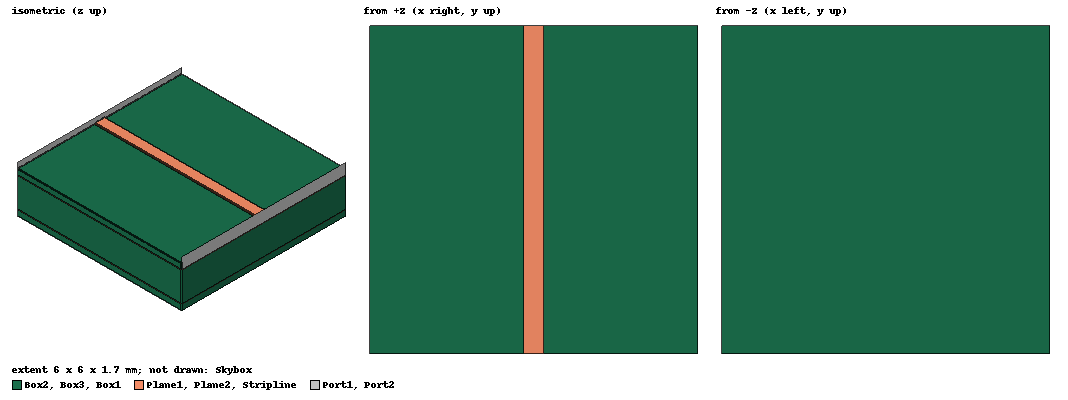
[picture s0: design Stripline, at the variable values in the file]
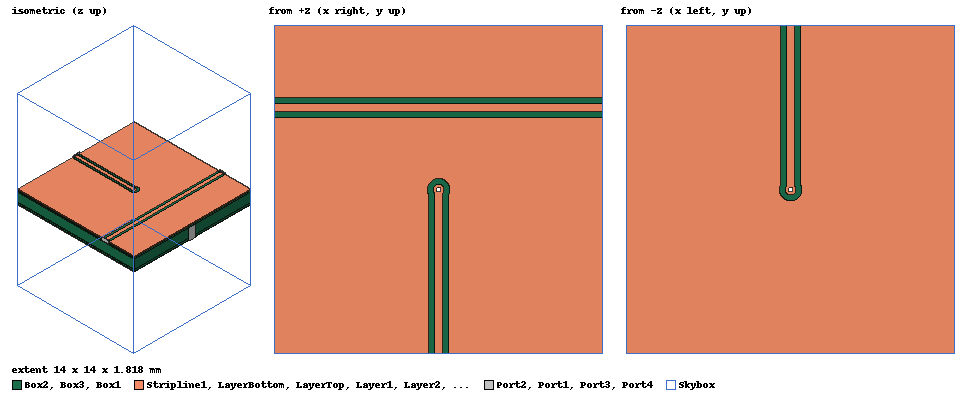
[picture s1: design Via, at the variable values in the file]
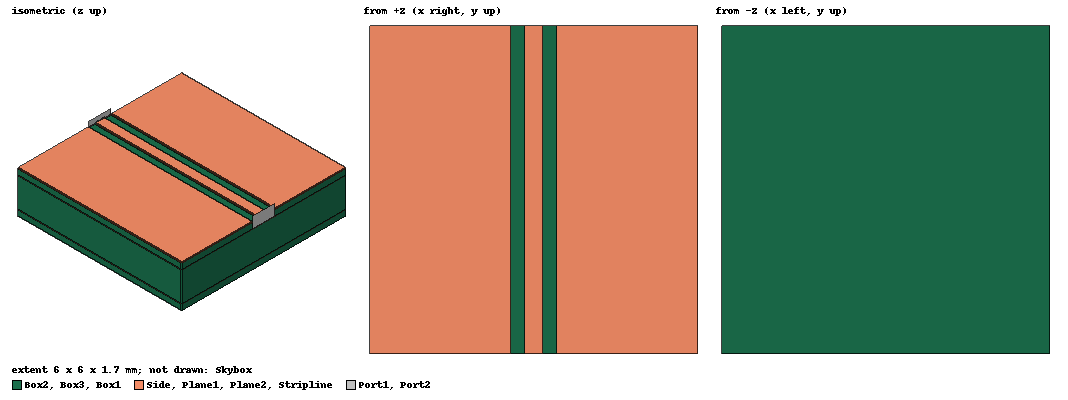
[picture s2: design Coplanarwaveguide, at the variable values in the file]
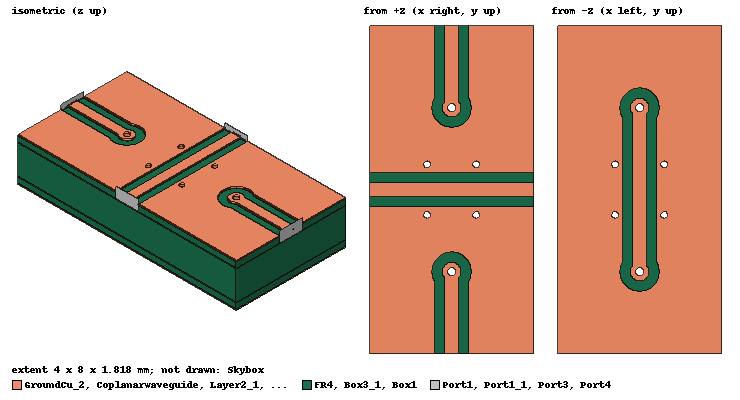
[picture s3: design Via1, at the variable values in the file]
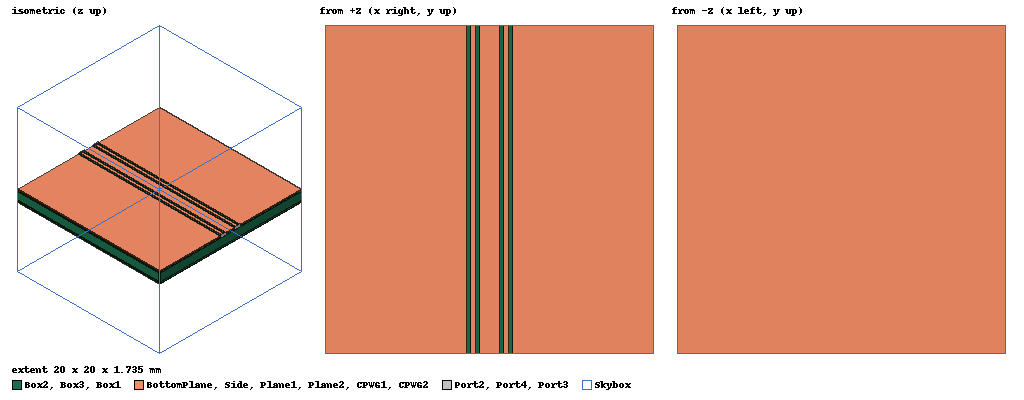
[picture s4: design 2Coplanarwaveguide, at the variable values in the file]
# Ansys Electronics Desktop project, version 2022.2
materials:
  pec: conductivity=1e+30
  vacuum: permittivity=1
  FR4_epoxy: permittivity=4.4 dielectric_loss_tangent=0.02
  copper: permeability=0.999991 conductivity=58000000
  7628: permittivity=4.6 dielectric_loss_tangent=0.02
  air: permittivity=1.0006 permeability=1.0000004

design Stripline (HFSS, DrivenTerminal, model units mm)
options: Calculate_Lossy_Dielectrics
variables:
  trace_w = 0.3487mm
  trace_l = 3mm
  trace_t = 17.5um
  pad_r = 0.6mm
  pad_d = 0.6mm
  d2_h = 0.2mm
  d1_h = 1.065mm
  via_r = 0.15mm
  keepout_t = 0.05mm
  sky_height = 20mm
  itrace_t = trace_t/2
  via_plate_t = 18um
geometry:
  Stripline [copper] = box(corner=(-trace_w/2, -trace_l, 0mm), size=(trace_w, trace_l*2, trace_t*2))
  Box1 [7628] = box(corner=(-trace_l, -trace_l, -d2_h), size=(2*trace_l, trace_l*2, d2_h))
  Box2 [FR4_epoxy] = box(corner=(-trace_l, -trace_l, -d2_h-trace_t-d1_h), size=(2*trace_l, trace_l*2, d1_h))
  Box3 [7628] = box(corner=(-trace_l, -trace_l, -d2_h*2-d1_h-trace_t*2), size=(2*trace_l, trace_l*2, d2_h))
  Plane1 [copper] = object_from(Box1.face(-z))
  Plane2 [copper] = object_from(Box2.face(-z))
  [Plane1, Plane2].thicken(trace_t)
  Port1 = rectangle(corner=(-trace_l, -trace_l, -0.2mm), z_size=0.4mm, x_size=trace_l*2)
  Port2 = rectangle(corner=(-trace_l, trace_l, -0.2mm), z_size=0.4mm, x_size=trace_l*2)
  Skybox [vacuum] = box(corner=(-trace_l, -trace_l, -sky_height/2), size=(trace_l*2, trace_l*2, sky_height))
  Plane2_ObjectFromFace1 = object_from(Plane2.face(at (0, 3, -1.29125)))
  Plane2_ObjectFromFace1.thicken(trace_t, both sides)
  Plane2.subtract(Plane2_ObjectFromFace1)
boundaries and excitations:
  Stripline1_T2: Terminal port=2 Faces=Stripline.face(-y) TerminalResistance=50ohm
  Stripline_T1: Terminal port=1 Faces=Stripline.face(+y) TerminalResistance=50ohm
  1: Lumped Port Faces=Port2.face Impedance=50ohm
  2: Lumped Port Faces=Port1.face Impedance=50ohm
  reference conductors: Plane1, Plane2
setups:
  Setup1: HfssDrivenAuto AutoSolverSetting=Balanced SaveAnyFields=false Type=Interpolating
    sweep Sweep: 910MHz to 928MHz step 1MHz;
  Setup2: HfssDriven Frequency=915MHz MaxDeltaS=0.02 MaximumPasses=6 MinimumPasses=1 MinimumConvergedPasses=1 PercentRefinement=30 BasisOrder=1 PortAccuracy=2 DrivenSolverType="Direct Solver"
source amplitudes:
  1:1: 1 0deg
  2:1: 0V 0deg
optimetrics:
  ParametricSetup1: Parametric Sim._Setups=[Setup1]
    sweep trace_w: LIN 0.2487mm 0.4487mm 0.04mm
    calculate dB(St(Stripline_T1,Stripline1_T2)) on Setup1 : Sweep at Freq 915MHz to 915MHz
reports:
  Terminal S Parameter Chart 1: St(Stripline1_T1,Stripline1_T1) on Setup1 : Sweep [Freq=all]
  Terminal VSWR Plot 1: VSWRt(Stripline1_T1) vs Freq on Setup1 : Sweep
  Terminal S Parameter Plot 1: dB(St(Stripline1_T1,Stripline1_T1)), dB(St(Stripline1_T2,Stripline1_T1)), dB(St(Stripline1_T1,Stripline1_T2)), dB(St(Stripline1_T2,Stripline1_T2)) vs Freq on Setup1 : Sweep
  Terminal S Parameter Plot 2: dB(St(Stripline1_T1,Stripline1_T2)) vs Freq on Setup1 : Sweep
  Terminal S Parameter Plot 3: dB(St(Stripline_T1,Stripline1_T2)) vs Freq on Setup1 : Sweep [trace_w=all]

design Via (HFSS, DrivenTerminal, model units mm)
options: Calculate_Lossy_Dielectrics
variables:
  trace_w = 0.3287mm
  trace_l = 7mm
  trace_t = 17.5um
  pad_r = 0.6mm
  pad_d = 0.45mm
  d2_h = 0.2mm
  d1_h = 1.065mm
  via_r = 0.1mm
  keepout_t = 0.05mm
  sky_height = 20mm
  itrace_t = trace_t/2
  via_plate_t = 18um
  spacing = 0.508mm
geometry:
  Stripline = box(corner=(-trace_w/2, -trace_l, 0mm), size=(trace_w, trace_l, trace_t*2))
  Pad = cylinder(axis=Z, base_centre=(0mm, 0mm, 0mm), radius=pad_d/2, height=trace_t*2)
  Box1 [7628] = box(corner=(-trace_l, -trace_l, -d2_h), size=(2*trace_l, trace_l*2, d2_h))
  Pad1 = cylinder(axis=Z, base_centre=(0mm, 0mm, -d2_h-trace_t), radius=pad_d/2, height=trace_t)
  Box2 [FR4_epoxy] = box(corner=(-trace_l, -trace_l, -d2_h-trace_t-d1_h), size=(2*trace_l, trace_l*2, d1_h))
  Box3 [7628] = box(corner=(-trace_l, -trace_l, -d2_h*2-d1_h-trace_t*2), size=(2*trace_l, trace_l*2, d2_h))
  Pad2 = cylinder(axis=Z, base_centre=(0mm, 0mm, -d2_h-trace_t*2-d1_h), radius=pad_d/2, height=trace_t)
  Pad3 = cylinder(axis=Z, base_centre=(0mm, 0mm, -d2_h*2-trace_t-trace_t*3-d1_h), radius=pad_d/2, height=trace_t*2)
  ViaPlate = cylinder(axis=Z, base_centre=(0mm, 0mm, trace_t*2), radius=via_r+via_plate_t, height=-trace_t*2-trace_t*4-d1_h-d2_h*2)
  ViaHole = cylinder(axis=Z, base_centre=(0mm, 0mm, trace_t*2), radius=via_r, height=-trace_t*2-trace_t*4-d1_h-d2_h*2)
  AntiPad1 = cylinder(axis=Z, base_centre=(0mm, 0mm, -d2_h-trace_t), radius=pad_d/2+spacing/2, height=trace_t)
  AntiPad2 = cylinder(axis=Z, base_centre=(0mm, 0mm, -d2_h-trace_t*2-d1_h), radius=pad_d/2+spacing/2, height=trace_t)
  Layer1 [copper] = object_from(Box1.face(-z))
  Layer2 [copper] = object_from(Box2.face(-z))
  [Layer1, Layer2].thicken(trace_t)
  ViaPlate_1 = ViaPlate.copy()
  Box1.subtract(ViaPlate_1)
  ViaPlate_2 = ViaPlate.copy()
  Box2.subtract(ViaPlate_2)
  ViaPlate_3 = ViaPlate.copy()
  Box3.subtract(ViaPlate_3)
  ViaPlate_4 = ViaPlate.copy()
  Pad.subtract(ViaPlate_4)
  ViaPlate_5 = ViaPlate.copy()
  Pad1.subtract(ViaPlate_5)
  ViaPlate_6 = ViaPlate.copy()
  Pad2.subtract(ViaPlate_6)
  ViaPlate_7 = ViaPlate.copy()
  Pad3.subtract(ViaPlate_7)
  ViaPlate.unite(Pad3, Pad2, Pad1, Pad)
  Stripline.unite(ViaPlate)
  Layer1.subtract(AntiPad1)
  Layer2.subtract(AntiPad2)
  Stripline1 [copper] = box(corner=(-trace_w/2, trace_l, -trace_t-trace_t*3-d1_h-d2_h*2), size=(trace_w, -trace_l, trace_t*2))
  ViaHole_1 = ViaHole.copy()
  Stripline.subtract(ViaHole_1)
  Stripline1.subtract(ViaHole)
  Stripline1.unite(Stripline)
  Port1 = rectangle(corner=(-(trace_w+spacing)/2, -trace_l, -0.2mm), z_size=0.4mm, x_size=trace_w+spacing)
  Port2 = rectangle(corner=(-(trace_w+spacing)/2, trace_l, -3*trace_t-d1_h-2*d2_h-0.1mm), z_size=1.4mm, x_size=trace_w+spacing)
  Skybox [vacuum] = box(corner=(-trace_l, -trace_l, -sky_height/2), size=(trace_l*2, trace_l*2, sky_height))
  Plane2_ObjectFromFace1 = object_from(Layer2.face(at (0, 7, -1.29125)))
  Plane2_ObjectFromFace1.thicken(trace_t, both sides)
  Layer2.subtract(Plane2_ObjectFromFace1)
  LayerTop [copper] = box(corner=(-trace_l, -trace_l, 0mm), size=(trace_l*2, trace_l*2, trace_t*2))
  Subtract = box(corner=(-(trace_w+spacing)/2, -trace_l, 0mm), size=(trace_w+spacing, trace_l, trace_t*2))
  Cylinder1 = cylinder(axis=Z, base_centre=(0mm, 0mm, 0mm), radius=(pad_d+spacing)/2, height=trace_t*2)
  Subtract.unite(Cylinder1)
  LayerTop.subtract(Subtract)
  LayerBottom [copper] = LayerTop.duplicate_mirror(point=(0mm, 0mm, -trace_t-d2_h-d1_h/2), normal=(0mm, 0mm, -10mm))
  LayerBottom.rotate(axis=Z, angle=180deg)
  CrossoverCoplanarwaveguide [copper] = box(corner=(-trace_l, -trace_w/2+trace_l/2, 0mm), size=(trace_l*2, trace_w, trace_t*2))
  Box5 = box(corner=(-trace_l, -trace_w/2-spacing/2+trace_l/2, 0mm), size=(trace_l*2, trace_w+spacing, trace_t*2))
  Port3 = rectangle(corner=(-trace_l, trace_l/2-(trace_w+spacing)*0.99/2, -0.2mm), y_size=(trace_w+spacing)*0.99, z_size=0.4mm)
  Port4 = rectangle(corner=(trace_l, trace_l/2-(trace_w+spacing)*0.99/2, -0.2mm), y_size=(trace_w+spacing)*0.99, z_size=0.4mm)
  LayerTop.subtract(Box5)
  Rectangle1 [non-model] = rectangle(corner=(0mm, -trace_l/1.1, -sky_height/4), y_size=trace_l*2/1.1, z_size=sky_height/2)
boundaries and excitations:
  Stripline1_T1: Terminal port=1 Faces=Stripline1.face(3 of 6) TerminalResistance=50ohm
  Stripline1_T2: Terminal port=2 Faces=Stripline1.face(+y) TerminalResistance=50ohm
  CrossoverCoplanarwaveguide_T1: Terminal port=3 Faces=CrossoverCoplanarwaveguide.face(-x) TerminalResistance=50ohm
  CrossoverCoplanarwaveguide_T2: Terminal port=4 Faces=CrossoverCoplanarwaveguide.face(+x) TerminalResistance=50ohm
  1: Lumped Port Faces=Port1.face Impedance=50ohm
  2: Lumped Port Faces=Port2.face Impedance=50ohm
  3: Lumped Port Faces=Port3.face Impedance=50ohm
  4: Lumped Port Faces=Port4.face Impedance=50ohm
  reference conductors: Layer1
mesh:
  initial mesh: GlobalSurfApproximation{CurvedSurfaceApproxChoice=UseSlider SliderMeshSettings=7} DynamicSurfaceResolution
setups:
  Setup1: HfssDrivenAuto AutoSolverSetting=Balanced Type=Interpolating
    sweep Sweep: 10MHz to 10GHz, log, 2000 per decade;
  Setup2: HfssDriven Frequency=915MHz MaxDeltaS=0.02 MaximumPasses=6 MinimumPasses=1 MinimumConvergedPasses=1 PercentRefinement=30 BasisOrder=1 PortAccuracy=2 DrivenSolverType="Direct Solver"
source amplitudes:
  1:1: 1V 0deg
  2:1, 3:1, 4:1: 0V 0deg
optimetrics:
  ParametricSetup1: Parametric Sim._Setups=[Setup1]
    sweep pad_d: LIN 0.45mm 1mm 0.05mm
    calculate dB(St(Stripline1_T1,Stripline1_T2)) on Setup1 : Sweep at Freq 10MHz to 10MHz
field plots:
  Mag_E1, Mag_E3: E Field over LayerTop.face(all 16) on Setup1 : Sweep at Freq=1GHz Phase=0deg
  Mag_E2: E Field over a plane on Setup1 : Sweep at Freq=1GHz Phase=0deg
  Mag_E4: E Field over CrossoverCoplanarwaveguide.face(all 6) Stripline1.face(all 22) on Setup1 : Sweep at Freq=1GHz Phase=0deg
  Mag_Jsurf1: Jsurf over Layer1.face(all 7) LayerTop.face(all 16) Layer2.face(all 7) LayerBottom.face(all 10) Stripline1.face(all 22) CrossoverCoplanarwaveguide.face(all 6) on Setup1 : Sweep at Freq=1GHz Phase=0deg
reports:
  Terminal S Parameter Chart 1: St(Stripline1_T1,Stripline1_T1) on Setup1 : Sweep [Freq=all]
  Terminal VSWR Plot 1: VSWRt(Stripline1_T1) vs Freq on Setup1 : Sweep
  Terminal S Parameter Plot 1: dB(St(Stripline1_T1,Stripline1_T1)), dB(St(Stripline1_T2,Stripline1_T1)), dB(St(Stripline1_T1,Stripline1_T2)), dB(St(Stripline1_T2,Stripline1_T2)) vs Freq on Setup1 : Sweep
  Terminal S Parameter Plot 2: dB(St(Stripline1_T1,Stripline1_T2)) vs Freq on Setup1 : Sweep
  Terminal S Parameter Plot 3: dB(St(Stripline1_T2,Stripline1_T1)) vs Freq on Setup1 : Sweep [trace_w=0.3287mm via_r=all]; dB(St(Stripline1_T2,Stripline_T1)) vs Freq
  Terminal S Parameter Plot 4: dB(St(Stripline1_T2,Stripline1_T1)) vs Freq on Setup1 : Sweep [trace_w=0.3287mm pad_d=all via_r=0.1mm]; dB(St(Stripline1_T2,Stripline_T1)) vs Freq
  Terminal S Parameter Plot 5: dB(St(CrossoverCoplanarwaveguide_T1,Stripline1_T1)), dB(St(CrossoverCoplanarwaveguide_T2,Stripline1_T1)), dB(St(CrossoverCoplanarwaveguide_T1,Stripline1_T2)), dB(St(CrossoverCoplanarwaveguide_T2,Stripline1_T2)) vs Freq on Setup1 : Sweep [pad_d=all]

design Coplanarwaveguide (HFSS, DrivenTerminal, model units mm)
options: Calculate_Lossy_Dielectrics
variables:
  trace_w = 0.3287mm
  trace_l = 3mm
  trace_t = 17.5um
  pad_r = 0.6mm
  pad_d = 0.6mm
  d2_h = 0.2mm
  d1_h = 1.065mm
  via_r = 0.15mm
  keepout_t = 0.05mm
  sky_height = 20mm
  itrace_t = trace_t/2
  via_plate_t = 18um
  spacing = 0.508mm
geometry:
  Stripline [copper] = box(corner=(-trace_w/2, -trace_l, 0mm), size=(trace_w, trace_l*2, trace_t*2))
  Box1 [7628] = box(corner=(-trace_l, -trace_l, -d2_h), size=(2*trace_l, trace_l*2, d2_h))
  Box2 [FR4_epoxy] = box(corner=(-trace_l, -trace_l, -d2_h-trace_t-d1_h), size=(2*trace_l, trace_l*2, d1_h))
  Box3 [7628] = box(corner=(-trace_l, -trace_l, -d2_h*2-d1_h-trace_t*2), size=(2*trace_l, trace_l*2, d2_h))
  Plane1 [copper] = object_from(Box1.face(-z))
  Plane2 [copper] = object_from(Box2.face(-z))
  [Plane1, Plane2].thicken(trace_t)
  Port1 = rectangle(corner=(-(trace_w+spacing)/2, -trace_l, -0.2mm), z_size=0.4mm, x_size=(trace_w+spacing))
  Port2 = rectangle(corner=(-(trace_w+spacing)/2, trace_l, -0.2mm), z_size=0.4mm, x_size=(trace_w+spacing))
  Skybox [vacuum] = box(corner=(-trace_l, -trace_l, -sky_height/2), size=(trace_l*2, trace_l*2, sky_height))
  Plane2_ObjectFromFace1 = object_from(Plane2.face(at (0, 3, -1.29125)))
  Plane2_ObjectFromFace1.thicken(trace_t, both sides)
  Plane2.subtract(Plane2_ObjectFromFace1)
  Side [copper] = box(corner=(-trace_l, -trace_l, 0mm), size=(trace_l*2, trace_l*2, trace_t*2))
  Subtract = box(corner=(-(trace_w+spacing)/2, -trace_l, 0mm), size=(trace_w+spacing, trace_l*2, trace_t*2))
  Side.subtract(Subtract)
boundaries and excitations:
  Stripline1_T2: Terminal port=2 Faces=Stripline.face(-y) TerminalResistance=50ohm
  Stripline_T1: Terminal port=1 Faces=Stripline.face(+y) TerminalResistance=50ohm
  1: Lumped Port Faces=Port2.face Impedance=50ohm
  2: Lumped Port Faces=Port1.face Impedance=50ohm
  reference conductors: Plane1, Plane2, Side
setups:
  Setup1: HfssDrivenAuto AutoSolverSetting="Higher Speed" Type=Interpolating
    sweep Sweep: 10MHz to 10GHz, log, 20 per decade;
  Setup2: HfssDriven Frequency=915MHz MaxDeltaS=0.02 MaximumPasses=6 MinimumPasses=1 MinimumConvergedPasses=1 PercentRefinement=30 BasisOrder=1 PortAccuracy=2 DrivenSolverType="Direct Solver"
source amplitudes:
  1:1: 1 0deg
  2:1: 0V 0deg
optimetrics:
  ParametricSetup1: Parametric Sim._Setups=[Setup1]
    sweep trace_w: LIN 0.34mm 0.35mm 0.001mm
    calculate dB(St(Stripline1_T2,Stripline_T1)) on Setup1 : Sweep at Freq 10MHz to 10MHz
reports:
  Terminal S Parameter Chart 1: St(Stripline1_T1,Stripline1_T1) on Setup1 : Sweep [Freq=all]
  Terminal VSWR Plot 1: VSWRt(Stripline1_T1) vs Freq on Setup1 : Sweep
  Terminal S Parameter Plot 1: dB(St(Stripline1_T1,Stripline1_T1)), dB(St(Stripline1_T2,Stripline1_T1)), dB(St(Stripline1_T1,Stripline1_T2)), dB(St(Stripline1_T2,Stripline1_T2)) vs Freq on Setup1 : Sweep
  Terminal S Parameter Plot 2: dB(St(Stripline1_T1,Stripline1_T2)) vs Freq on Setup1 : Sweep
  Terminal S Parameter Plot 3: dB(St(Stripline1_T2,Stripline_T1)) vs Freq on Setup1 : Sweep [trace_w=all]
  Terminal VSWR Plot 3: VSWRt(Stripline1_T2) vs Freq on Setup1 : Sweep [trace_w=all]

design Via1 (HFSS, DrivenTerminal, model units mm)
options: Calculate_Lossy_Dielectrics
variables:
  trace_w = 0.3287mm  # optimise 0.16435mm..0.49305mm
  trace_l = 2mm
  trace_t = 17.5um
  pad_r = 0.6mm  # optimise 0.3mm..0.9mm
  pad_d = 0.450225mm  # optimise 0.225mm..0.675mm
  d2_h = 0.2mm
  d1_h = 1.065mm
  via_r = 0.1mm  # optimise 0.05mm..0.15mm
  keepout_t = 0.05mm
  sky_height = 20mm
  itrace_t = trace_t/2
  via_plate_t = 18um
  spacing = 0.508mm  # optimise 0.254mm..0.762mm
  shield_via_x = 0.6mm  # optimise 0.4mm..1.2mm
  shield_via_y = 1.385mm  # optimise 0.5mm..1.5mm
  secondtrace_x = -trace_l
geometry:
  Stripline = box(corner=(-trace_w/2, -trace_l, 0mm), size=(trace_w, trace_l, trace_t*2))
  Pad = cylinder(axis=Z, base_centre=(0mm, 0mm, 0mm), radius=pad_d/2, height=trace_t*2)
  Box1 [7628] = box(corner=(-trace_l, -trace_l, -d2_h), size=(2*trace_l, trace_l*2, d2_h))
  Pad1 = cylinder(axis=Z, base_centre=(0mm, 0mm, -d2_h-trace_t), radius=pad_d/2, height=trace_t)
  FR4 [FR4_epoxy] = box(corner=(-trace_l, -trace_l, -d2_h-trace_t-d1_h), size=(2*trace_l, trace_l*2, d1_h))
  Box3 = box(corner=(-trace_l, -trace_l, -d2_h*2-d1_h-trace_t*2), size=(2*trace_l, trace_l*2, d2_h))
  Pad2 = cylinder(axis=Z, base_centre=(0mm, 0mm, -d2_h-trace_t*2-d1_h), radius=pad_d/2, height=trace_t)
  Pad3 = cylinder(axis=Z, base_centre=(0mm, 0mm, -d2_h*2-trace_t-trace_t*3-d1_h), radius=pad_d/2, height=trace_t*2)
  ViaPlate = cylinder(axis=Z, base_centre=(0mm, 0mm, trace_t*2), radius=via_r+via_plate_t, height=-trace_t*2-trace_t*4-d1_h-d2_h*2)
  ViaHole = cylinder(axis=Z, base_centre=(0mm, 0mm, trace_t*2), radius=via_r, height=-trace_t*2-trace_t*4-d1_h-d2_h*2)
  AntiPad1 = cylinder(axis=Z, base_centre=(0mm, 0mm, -d2_h-trace_t), radius=pad_d/2+spacing/2, height=trace_t)
  AntiPad2 = cylinder(axis=Z, base_centre=(0mm, 0mm, -d2_h-trace_t*2-d1_h), radius=pad_d/2+spacing/2, height=trace_t)
  Layer1 = object_from(Box1.face(-z))
  Layer2 = object_from(FR4.face(-z))
  [Layer1, Layer2].thicken(trace_t)
  ViaPlate_1 = ViaPlate.copy()
  Box1.subtract(ViaPlate_1)
  ViaPlate_2 = ViaPlate.copy()
  FR4.subtract(ViaPlate_2)
  ViaPlate_3 = ViaPlate.copy()
  Box3.subtract(ViaPlate_3)
  ViaPlate_4 = ViaPlate.copy()
  Pad.subtract(ViaPlate_4)
  ViaPlate_5 = ViaPlate.copy()
  Pad1.subtract(ViaPlate_5)
  ViaPlate_6 = ViaPlate.copy()
  Pad2.subtract(ViaPlate_6)
  ViaPlate_7 = ViaPlate.copy()
  Pad3.subtract(ViaPlate_7)
  ViaPlate.unite(Pad3, Pad2, Pad1, Pad)
  Stripline.unite(ViaPlate)
  Layer1.subtract(AntiPad1)
  Layer2.subtract(AntiPad2)
  Stripline1 = box(corner=(-trace_w/2, trace_l, -trace_t-trace_t*3-d1_h-d2_h*2), size=(trace_w, -trace_l, trace_t*2))
  ViaHole_1 = ViaHole.copy()
  Stripline.subtract(ViaHole_1)
  Stripline1.subtract(ViaHole)
  Stripline1.unite(Stripline)
  Port1 = rectangle(corner=(-(trace_w+spacing)/2, -trace_l, -0.2mm), z_size=0.4mm, x_size=trace_w+spacing)
  Port2 [non-model] = rectangle(corner=(-(trace_w+spacing)/2, trace_l, -3*trace_t-d1_h-2*d2_h-0.1mm), z_size=1.4mm, x_size=trace_w+spacing)
  Skybox [air] = box(corner=(-trace_l, -trace_l, -sky_height/2), size=(trace_l*2, trace_l*2, sky_height))
  Plane2_ObjectFromFace1 = object_from(Layer2_1.face(#271))
  Plane2_ObjectFromFace1.thicken(trace_t, both sides)
  Layer2.subtract(Plane2_ObjectFromFace1)  # suppressed
  LayerTop = box(corner=(-trace_l, -trace_l, 0mm), size=(trace_l*2, trace_l*2, trace_t*2))
  Subtract = box(corner=(-(trace_w+spacing)/2, -trace_l, 0mm), size=(trace_w+spacing, trace_l, trace_t*2))
  Cylinder1 = cylinder(axis=Z, base_centre=(0mm, 0mm, 0mm), radius=(pad_d+spacing)/2, height=trace_t*2)
  Subtract.unite(Cylinder1)
  LayerTop.subtract(Subtract)
  LayerBottom = LayerTop.duplicate_mirror(point=(0mm, 0mm, -trace_t-d2_h-d1_h/2), normal=(0mm, 0mm, -10mm))
  LayerBottom.rotate(axis=Z, angle=180deg)
  CrossoverCoplanarwaveguide [copper] = box(corner=(-trace_l, -secondtrace_x-trace_w/2, 0mm), size=(trace_l*2, trace_w, trace_t*2))
  Box5 = box(corner=(-trace_l, -secondtrace_x-trace_w/2-spacing/2, 0mm), size=(trace_l*2, trace_w+spacing, trace_t*2))
  Port3 = rectangle(corner=(-trace_l, -secondtrace_x-(trace_w+spacing)*0.99/2, -0.2mm), y_size=(trace_w+spacing)*0.99, z_size=0.4mm)
  Port4 = rectangle(corner=(trace_l, -secondtrace_x-(trace_w+spacing)*0.99/2, -0.2mm), y_size=(trace_w+spacing)*0.99, z_size=0.4mm)
  LayerTop.subtract(Box5)
  Rectangle1 [non-model] = rectangle(corner=(0mm, -trace_l, -sky_height/4), y_size=trace_l*2, z_size=sky_height/2)
  ShieldViaEtch = cylinder(axis=Z, base_centre=(shield_via_x, shield_via_y, 0mm), radius=spacing/2+via_r, height=-trace_t*5-d1_h-2*d2_h)
  ShieldViaEtch_1 = ShieldViaEtch.duplicate_mirror(point=(0mm, 0mm, 5mm), normal=(-1mm, 0mm, -2.9605947e-15mm))
  ShieldViaDrill = cylinder(axis=Z, base_centre=(shield_via_x, shield_via_y, 0mm), radius=via_r, height=-trace_t*5-d1_h-2*d2_h)
  ShieldViaDrill_1 = ShieldViaDrill.duplicate_mirror(point=(0mm, 2.2mm, 0mm), normal=(-1mm, 0mm, 0mm))
  Layer2.subtract(ShieldViaEtch, ShieldViaEtch_1)
  ShieldViaFillCu = cylinder(axis=Z, base_centre=(shield_via_x, shield_via_y, trace_t*2), radius=via_r, height=-trace_t*6-d1_h-2*d2_h)
  ShieldViaDrill_2 = ShieldViaDrill.copy()
  ShieldViaDrill_1_1 = ShieldViaDrill_1.copy()
  Box1.subtract(ShieldViaDrill_2, ShieldViaDrill_1_1)
  ShieldViaDrill_3 = ShieldViaDrill.copy()
  ShieldViaDrill_1_2 = ShieldViaDrill_1.copy()
  FR4.subtract(ShieldViaDrill_3, ShieldViaDrill_1_2)
  Box3.subtract(ShieldViaDrill, ShieldViaDrill_1)
  ShieldViaCreatePlating = cylinder(axis=Z, base_centre=(shield_via_x, shield_via_y, trace_t*2), radius=via_r-via_plate_t, height=-trace_t*6-d1_h-2*d2_h)
  ShieldViaFillCu.subtract(ShieldViaCreatePlating)
  ShieldViaDrill1 = cylinder(axis=Z, base_centre=(shield_via_x, shield_via_y, trace_t*2), radius=via_r, height=-trace_t*6-d1_h-2*d2_h)
  ShieldViaDrill_4 = ShieldViaDrill1.copy()
  ShieldViaDrill1.delete()
  ShieldViaDrill2 = cylinder(axis=Z, base_centre=(shield_via_x, shield_via_y, trace_t*2), radius=via_r, height=-trace_t*6-d1_h-2*d2_h)
  ShieldViaDrill_5 = ShieldViaDrill2.duplicate_mirror(point=(0mm, 2.2mm, 0mm), normal=(-1mm, 0mm, 0mm))
  ShieldViaDrill_1_3 = ShieldViaDrill_5.copy()
  [ShieldViaDrill2, ShieldViaDrill_5].delete()
  ShieldViaDrill_1_3_1 = ShieldViaDrill_1_3.copy()
  ShieldViaDrill_4_1 = ShieldViaDrill_4.copy()
  Layer1.subtract(ShieldViaDrill_1_3_1, ShieldViaDrill_4_1)
  ShieldViaDrill_1_3_2 = ShieldViaDrill_1_3.copy()
  ShieldViaDrill_4_2 = ShieldViaDrill_4.copy()
  Layer2.subtract(ShieldViaDrill_1_3_2, ShieldViaDrill_4_2)
  ShieldViaDrill_1_3_3 = ShieldViaDrill_1_3.copy()
  ShieldViaDrill_4_3 = ShieldViaDrill_4.copy()
  LayerBottom.subtract(ShieldViaDrill_1_3_3, ShieldViaDrill_4_3)
  LayerTop.subtract(ShieldViaDrill_1_3, ShieldViaDrill_4)
  GroundCu = ShieldViaFillCu.duplicate_mirror(point=(0mm, 1.6mm, 0mm), normal=(-1mm, 0mm, 0mm))
  GroundCu.unite(ShieldViaFillCu, LayerTop, LayerBottom, Layer1)
  coordinate_system Middle = origin=(0mm, trace_l, 0mm) x=(1mm, 0mm, 0mm) y=(0mm, 1mm, 0mm)
  Box1_1 = Box1.duplicate_mirror(point=(0mm, 0mm, 0mm), normal=(0mm, 1mm, 0mm)) in Middle
  Box2_1 = FR4.duplicate_mirror(point=(0mm, 0mm, 0mm), normal=(0mm, 1mm, 0mm)) in Middle
  Box3_1 [7628] = Box3.duplicate_mirror(point=(0mm, 0mm, 0mm), normal=(0mm, 1mm, 0mm)) in Middle
  Layer2_1 [copper] = Layer2.duplicate_mirror(point=(0mm, 0mm, 0mm), normal=(0mm, 1mm, 0mm)) in Middle
  Coplanarwaveguide [copper] = Stripline1.duplicate_mirror(point=(0mm, 0mm, 0mm), normal=(0mm, 1mm, 0mm)) in Middle
  Port1_1 = Port1.duplicate_mirror(point=(0mm, 0mm, 0mm), normal=(0mm, 1mm, 0mm)) in Middle
  Port2_1 = Port2.duplicate_mirror(point=(0mm, 0mm, 0mm), normal=(0mm, 1mm, 0mm)) in Middle
  Skybox_1 = Skybox.duplicate_mirror(point=(0mm, 0mm, 0mm), normal=(0mm, 1mm, 0mm)) in Middle
  Rectangle1_1 = Rectangle1.duplicate_mirror(point=(0mm, 0mm, 0mm), normal=(0mm, 1mm, 0mm)) in Middle
  GroundCu_2 [copper] = GroundCu.duplicate_mirror(point=(0mm, 0mm, 0mm), normal=(0mm, 1mm, 0mm)) in Middle
  Coplanarwaveguide.unite(Stripline1)
  Layer2_1.unite(Layer2)
  GroundCu_2.unite(GroundCu)
  FR4.unite(Box2_1)
  Skybox.unite(Skybox_1)
  Box3_1.unite(Box3)
  Box1.unite(Box1_1)
  Rectangle1.unite(Rectangle1_1)
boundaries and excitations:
  CrossoverCoplanarwaveguide_T1: Terminal port=3 Faces=CrossoverCoplanarwaveguide.face(-x) TerminalResistance=50ohm
  CrossoverCoplanarwaveguide_T2: Terminal port=4 Faces=CrossoverCoplanarwaveguide.face(+x) TerminalResistance=50ohm
  Coplanarwaveguide_T1: Terminal port=5 Faces=Coplanarwaveguide.face(15 of 22) TerminalResistance=50ohm
  Coplanarwaveguide_T2: Terminal port=1 Faces=Coplanarwaveguide.face(3 of 6) TerminalResistance=50ohm
  1: Lumped Port Faces=Port1.face(at (0, -2, 0)) Impedance=50ohm
  3: Lumped Port Faces=Port3.face Impedance=50ohm
  4: Lumped Port Faces=Port4.face Impedance=50ohm
  5: Lumped Port Faces=Port1_1.face Impedance=50ohm
  reference conductors: Layer1, GroundCu_2
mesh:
  initial mesh: GlobalSurfApproximation{CurvedSurfaceApproxChoice=UseSlider SliderMeshSettings=7} DynamicSurfaceResolution
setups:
  Setup1: HfssDrivenAuto AutoSolverSetting=Balanced Type=Interpolating
    sweep Sweep: 912MHz to 928MHz, 20 points; 1MHz to 12GHz, log, 25 per decade;
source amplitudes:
  1:1: 1 0deg
  3:1, 4:1, 5:1: 0V 0deg
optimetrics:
  ParametricSetup1: Parametric disabled Sim._Setups=[Setup1]
    sweep pad_d: LIN 0.45mm 1mm 0.05mm
    calculate dB(St(Stripline1_T1,CrossoverCoplanarwaveguide_T2)) on Setup1 : Sweep at Freq 10MHz to 10MHz
  OptimizationSetup1: Optimization Optimizer="DX NLPQL" AnalysisStopOptions{StopForNumIteration MaxNumIteration=140 MinNumIteration=10} CostFuncNormType=L2 Acceptable_Cost=0 Noise=0.0001 UpdateDesignWhenDone
    vary pad_d: Min=0.45mm Max=0.675mm MinStep=0.0045mm MaxStep=0.045mm MinFocus=0.225mm MaxFocus=0.675mm start=0.45mm
    vary pad_r: Min=0.6mm Max=0.9mm MinStep=0.006mm MaxStep=0.06mm MinFocus=0.3mm MaxFocus=0.9mm start=0.6mm
    vary shield_via_x: Min=0.6mm Max=1.2mm MinStep=0.008mm MaxStep=0.08mm MinFocus=0.4mm MaxFocus=1.2mm start=0.6mm
    vary spacing: Min=0.254mm Max=0.762mm MinStep=0.00508mm MaxStep=0.0508mm MinFocus=0.254mm MaxFocus=0.762mm start=0.508mm
    vary via_r: Min=0.1mm Max=0.2mm MinStep=0.001mm MaxStep=0.01mm MinFocus=0.05mm MaxFocus=0.15mm start=0.1mm
    goal dB(St(Coplanarwaveguide_T1,CrossoverCoplanarwaveguide_T2)) == -inf weight 1 on Setup1 : Sweep at Freq 0.915368421052632GHz
    goal dB(St(Coplanarwaveguide_T1,Coplanarwaveguide_T2)) == inf weight 1 on Setup1 : Sweep at Freq 0.915368421052632GHz
    goal dB(St(Coplanarwaveguide_T1,CrossoverCoplanarwaveguide_T2)) == inf weight 1 on Setup1 : Sweep at Freq 0.915368421052632GHz
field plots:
  Mesh1: MeshPlots over CrossoverCoplanarwaveguide.face(all 6) Coplanarwaveguide.face(1 of 3, 1 of 3, 1 of 3, 2 of 3, 3 of 3, #1378, 1 of 3, 2 of 3, 3 of 3, #1379, #1380, 4 of 6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) GroundCu_2.face(#671, #242, 1 of 10, 9 of 10, #3224, 4 of 6, #1535, #1536, #1537, 2 of 6, #1538, #1539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) Layer2_1.face(all 12) on Setup1 : LastAdaptive at Freq=6.5GHz Phase=0deg
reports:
  Terminal S Parameter Chart 1: St(Stripline1_T1,Stripline1_T1) on Setup1 : Sweep [Freq=all]
  Terminal VSWR Plot 1: VSWRt(Stripline1_T1) vs Freq on Setup1 : Sweep
  Terminal S Parameter Plot 1: dB(St(Stripline1_T1,Stripline1_T1)), dB(St(Stripline1_T2,Stripline1_T1)), dB(St(Stripline1_T1,Stripline1_T2)), dB(St(Stripline1_T2,Stripline1_T2)) vs Freq on Setup1 : Sweep
  Terminal S Parameter Plot 2: dB(St(Stripline1_T1,Stripline1_T2)) vs Freq on Setup1 : Sweep
  Terminal S Parameter Plot 3: dB(St(Stripline1_T2,Stripline1_T1)) vs Freq on Setup1 : Sweep [trace_w=0.3287mm via_r=all]; dB(St(Stripline1_T2,Stripline_T1)) vs Freq
  Terminal S Parameter Plot 4: dB(St(Stripline1_T2,Stripline1_T1)) vs Freq on Setup1 : Sweep [trace_w=0.3287mm pad_d=all via_r=0.1mm]; dB(St(Stripline1_T2,Stripline_T1)) vs Freq
  Terminal S Parameter Plot 6: dB(St(Coplanarwaveguide_T1,Coplanarwaveguide_T2)), dB(St(Coplanarwaveguide_T1,CrossoverCoplanarwaveguide_T2)) vs Freq on Setup1 : Sweep [pad_r=all via_r=all spacing=all shield_via_x=all shield_via_y=all pad_d=all]; markers m1 at 0.915GHz

design 2Coplanarwaveguide (HFSS, DrivenTerminal, model units mm)
options: Calculate_Lossy_Dielectrics
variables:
  trace_w = 0.3287mm  # optimise 0.16435mm..0.49305mm
  trace_l = 10mm
  trace_t = 17.5um
  pad_r = 0.6mm
  pad_d = 0.6mm
  d2_h = 0.2mm
  d1_h = 1.065mm
  via_r = 0.15mm
  keepout_t = 0.05mm
  sky_height = 20mm
  itrace_t = trace_t/2
  via_plate_t = 18um
  spacing = 0.508508mm  # optimise 0.254mm..0.762mm
  plane_w = 2mm
  offset_x = 1mm
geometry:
  CPWG1 [copper] = box(corner=(-trace_w/2+offset_x, -trace_l, 0mm), size=(trace_w, trace_l*2, trace_t*2))
  Box1 [7628] = box(corner=(-trace_l, -trace_l, -d2_h), size=(2*trace_l, trace_l*2, d2_h))
  Box2 [FR4_epoxy] = box(corner=(-trace_l, -trace_l, -d2_h-trace_t-d1_h), size=(2*trace_l, trace_l*2, d1_h))
  Box3 [7628] = box(corner=(-trace_l, -trace_l, -d2_h*2-d1_h-trace_t*2), size=(2*trace_l, trace_l*2, d2_h))
  Plane1 [copper] = object_from(Box1.face(-z))
  Plane2 [copper] = object_from(Box2.face(-z))
  [Plane1, Plane2].thicken(trace_t)
  Port1 = rectangle(corner=(-(trace_w+spacing)/2+offset_x, -trace_l, -0.2mm), z_size=0.4mm, x_size=(trace_w+spacing))
  Port2 = rectangle(corner=(-(trace_w+spacing)/2+offset_x, trace_l, -0.2mm), z_size=0.4mm, x_size=(trace_w+spacing))
  Skybox [air] = box(corner=(-trace_l, -trace_l, -sky_height/2), size=(trace_l*2, trace_l*2, sky_height))
  Plane2_ObjectFromFace1 = object_from(Plane2.face(at (0, 10, -1.29125)))
  Plane2_ObjectFromFace1.thicken(trace_t, both sides)
  Plane2.subtract(Plane2_ObjectFromFace1)
  Side [copper] = box(corner=(-trace_l, -trace_l, 0mm), size=(trace_l*2, trace_l*2, trace_t*2))
  Subtract = box(corner=(-(trace_w+spacing)/2+offset_x, -trace_l, 0mm), size=(trace_w+spacing, trace_l*2, trace_t*2))
  Side.subtract(Subtract)
  Subtract1 = box(corner=(-(trace_w+spacing)/2+offset_x, -trace_l, 0mm), size=(trace_w+spacing, trace_l*2, trace_t*2))
  Subtract1.mirror(point=(0mm, 0mm, 10mm), normal=(-1mm, 0mm, 0mm))
  Side.subtract(Subtract1)
  CPWG2 [copper] = CPWG1.duplicate_mirror(point=(0mm, 0mm, 10mm), normal=(-1mm, 0mm, 0mm))
  Port4 = Port2.duplicate_mirror(point=(0mm, 0mm, 10mm), normal=(-1mm, 0mm, 0mm))
  Port3 = Port1.duplicate_mirror(point=(0mm, 0mm, 10mm), normal=(-1mm, 0mm, 0mm))
  BottomPlane [copper] = object_from(Box3.face(-z))
  BottomPlane.thicken(2*trace_t)
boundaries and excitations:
  Stripline1_T2: Terminal port=2 Faces=CPWG1.face(-y) TerminalResistance=50ohm
  Stripline_T1: Terminal port=1 Faces=CPWG1.face(+y) TerminalResistance=50ohm
  Stripline1_T3: Terminal port=4 Faces=CPWG2.face(3 of 6) TerminalResistance=50ohm
  Stripline_T2: Terminal port=3 Faces=CPWG2.face(5 of 6) TerminalResistance=50ohm
  1: Lumped Port Faces=Port2.face(at (1, 10, 0)) Impedance=50ohm
  2: Lumped Port Faces=Port1.face(at (1, -10, 0)) Impedance=50ohm
  3: Lumped Port Faces=Port4.face Impedance=50ohm
  4: Lumped Port Faces=Port3.face Impedance=50ohm
  reference conductors: Plane1, Plane2, Side
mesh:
  initial mesh: GlobalSurfApproximation{CurvedSurfaceApproxChoice=UseSlider SliderMeshSettings=8}
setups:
  Setup1: HfssDrivenAuto AutoSolverSetting="Higher Speed" Type=Interpolating
    sweep Sweep: 10MHz to 10GHz, log, 20 per decade;
  Setup2: HfssDriven Frequency=915MHz MaxDeltaS=0.02 MaximumPasses=6 MinimumPasses=1 MinimumConvergedPasses=1 PercentRefinement=30 BasisOrder=1 PortAccuracy=2 DrivenSolverType="Direct Solver"
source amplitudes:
  1:1: 1 0deg
  2:1, 3:1, 4:1: 0V 0deg
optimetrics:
  ParametricSetup1: Parametric Sim._Setups=[Setup1]
    sweep trace_w: LIN 0.34mm 0.35mm 0.001mm
    calculate dB(St(Stripline1_T2,Stripline_T1)) on Setup1 : Sweep at Freq 10MHz to 10MHz
  OptimizeImpedance: Optimization Optimizer="DX MISQP" AnalysisStopOptions{StopForNumIteration MaxNumIteration=60 MinNumIteration=10} CostFuncNormType=L2 Acceptable_Cost=0 Noise=0.0001 UpdateDesignWhenDone
    goal dB(St(Stripline_T1,Stripline_T1)) == -inf weight 1 on Setup1 : Sweep at Freq 0.01GHz to 10GHz
    goal dB(St(Stripline_T1,Stripline1_T2)) == 0 weight 1 on Setup1 : Sweep at Freq 0.01GHz to 10GHz
  OptimizeImpedance1: Optimization Optimizer="DX MISQP" AnalysisStopOptions{StopForNumIteration MaxNumIteration=60 MinNumIteration=10} CostFuncNormType=L2 Acceptable_Cost=0 Noise=0.0001 UpdateDesignWhenDone
    goal dB(St(Stripline_T1,Stripline_T1)) == -inf weight 1 on Setup1 : Sweep at Freq 0.01GHz to 10GHz
    goal dB(St(Stripline_T1,Stripline1_T2)) == 0 weight 1 on Setup1 : Sweep at Freq 0.01GHz to 10GHz
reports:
  Terminal S Parameter Plot 1: dB(St(Stripline_T1,Stripline_T1)), dB(St(Stripline_T1,Stripline1_T2)), dB(St(Stripline_T1,Stripline_T2)), dB(St(Stripline_T1,Stripline1_T3)) vs Freq on Setup1 : Sweep [trace_w=all]
